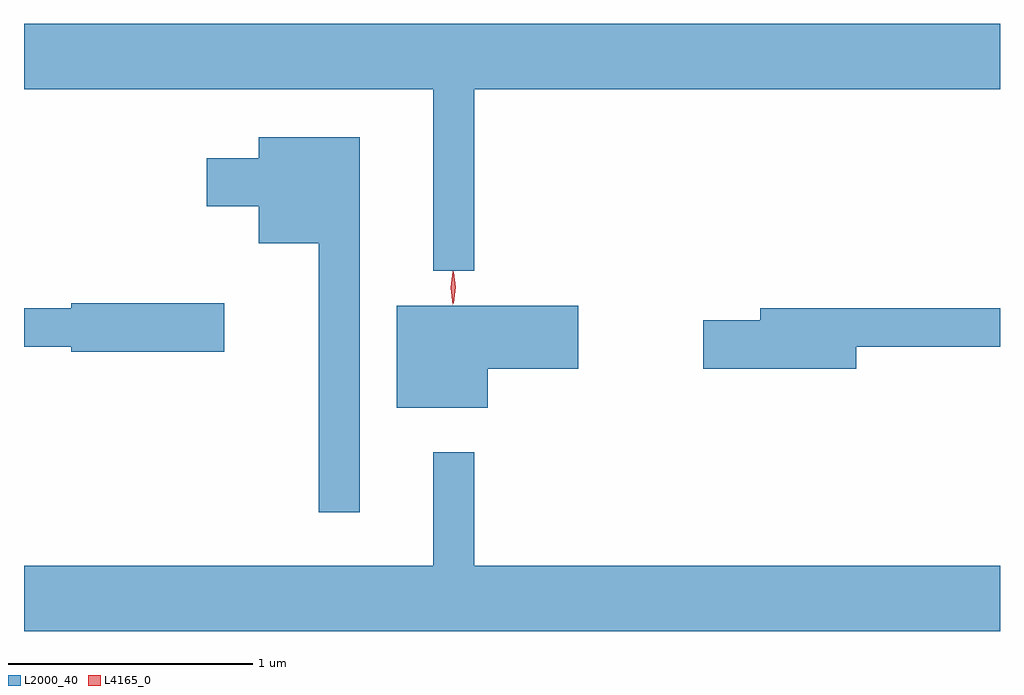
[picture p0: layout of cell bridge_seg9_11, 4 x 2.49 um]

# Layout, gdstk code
import gdstk
lib = gdstk.Library(unit=1e-6, precision=1e-09)
def P(c, l, *ps):  # polygons
    for p in ps: c.add(gdstk.Polygon(p, *l))
L2000_40 = (2000, 40)
L4165_0 = (4165, 0)

bridge_seg9_11 = lib.new_cell('bridge_seg9_11')
P(bridge_seg9_11, L2000_40, [(1780.909,2038.436),(1783.063,2038.436),(1783.063,2038.704),(1779.063,2038.704),(1779.063,2038.436),(1780.741,2038.436),(1780.741,2037.693),(1780.909,2037.693)],
  [(1780.439,2038.239),(1780.026,2038.239),(1780.026,2038.154),(1779.811,2038.154),(1779.811,2037.956),(1780.026,2037.956),(1780.026,2037.806),(1780.271,2037.806),(1780.271,2036.703),(1780.439,2036.703)],
  [(1779.884,2037.559),(1779.256,2037.559),(1779.256,2037.539),(1779.063,2037.539),(1779.063,2037.381),(1779.256,2037.381),(1779.256,2037.361),(1779.884,2037.361)],
  [(1780.964,2037.291),(1781.334,2037.291),(1781.334,2037.549),(1780.591,2037.549),(1780.591,2037.131),(1780.964,2037.131)],
  [(1782.474,2037.381),(1783.063,2037.381),(1783.063,2037.539),(1782.081,2037.539),(1782.081,2037.489),(1781.846,2037.489),(1781.846,2037.291),(1782.474,2037.291)],
  [(1780.741,2036.948),(1780.741,2036.484),(1779.063,2036.484),(1779.063,2036.216),(1783.063,2036.216),(1783.063,2036.484),(1780.909,2036.484),(1780.909,2036.948)])
P(bridge_seg9_11, L4165_0, [(1780.82,2037.554),(1780.82,2037.554),(1780.811,2037.622),(1780.821,2037.69),(1780.822,2037.69),(1780.822,2037.69),(1780.831,2037.622),(1780.821,2037.554)],
  [(1780.823,2037.56),(1780.823,2037.56),(1780.813,2037.624),(1780.823,2037.686),(1780.823,2037.687),(1780.824,2037.686),(1780.833,2037.624),(1780.824,2037.56)])

lib.write_gds('bridge_seg9_11.gds')
